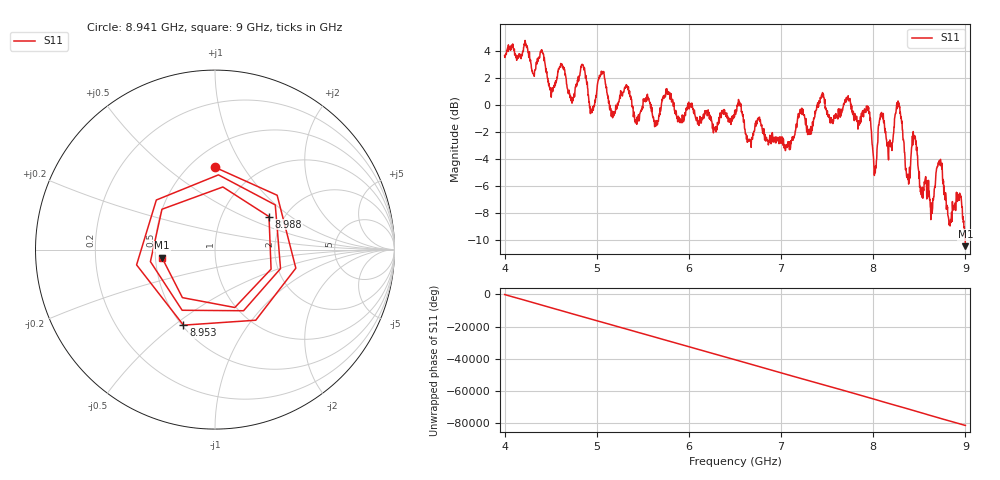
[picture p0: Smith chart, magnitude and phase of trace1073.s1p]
! Created with skrf 1.8.0 (http://scikit-rf.org).
# Hz S RI R 50.0
!freq ReS11 ImS11
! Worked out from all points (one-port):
!   1601 points, 4 GHz to 9 GHz, reference 50 ohm
!   lowest |S11| = -10.5 dB at 9 GHz (marker M1), VSWR 1.85, Z = 27.1 - j2.66 ohm
!   |S11| at or under -10 dB: 8.997853 GHz to end of sweep
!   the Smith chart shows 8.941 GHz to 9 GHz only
!   S11 on the Smith chart (normalised r, x): 8.941 GHz: 0.65, +0.76; 8.953 GHz: 0.51, -0.54; 8.988 GHz: 1.68, +0.70; 9 GHz: 0.54, -0.05
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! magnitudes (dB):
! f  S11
! 4 GHz  3.6
! 4.409 GHz  3.9
! 4.509 GHz  0.9
! 4.625 GHz  2.9
! 4.734 GHz  0.2
! 4.85 GHz  3.0
! 4.947 GHz  -0.6
! 5.053 GHz  2.3
! 5.162 GHz  -0.6
! 5.25 GHz  0.7
! 5.875 GHz  -1.0
! 6.5 GHz  -0.6
! 7.125 GHz  -2.5
! 7.75 GHz  0.3
! 7.947 GHz  -0.3
! 8.016 GHz  -4.8
! 8.084 GHz  -0.7
! 8.184 GHz  -2.9
! 8.272 GHz  -0.1
! 8.375 GHz  -5.5
! 8.447 GHz  -2.4
! 8.628 GHz  -7.3
! 8.722 GHz  -4.3
! 8.831 GHz  -8.8
! 8.941 GHz  -6.8
! 8.953 GHz  -6.8
! 8.988 GHz  -9.1
! 9 GHz  -10.5
